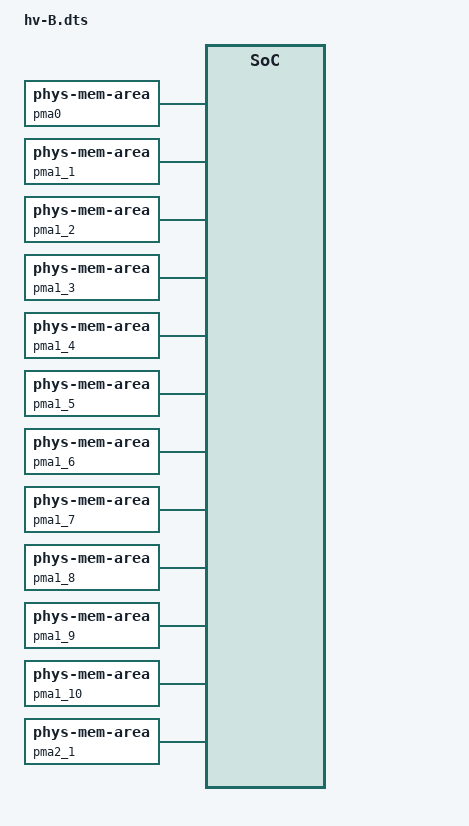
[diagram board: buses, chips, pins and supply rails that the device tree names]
/*
 * Copyright (C) 2012 Freescale Semiconductor, Inc.
 *
 * Redistribution and use in source and binary forms, with or without
 * modification, are permitted provided that the following conditions
 * are met:
 * 1. Redistributions of source code must retain the above copyright
 *    notice, this list of conditions and the following disclaimer.
 * 2. Redistributions in binary form must reproduce the above copyright
 *    notice, this list of conditions and the following disclaimer in the
 *    documentation and/or other materials provided with the distribution.
 *
 * THIS SOFTWARE IS PROVIDED BY THE AUTHOR "AS IS" AND ANY EXPRESS OR
 * IMPLIED WARRANTIES, INCLUDING, BUT NOT LIMITED TO, THE IMPLIED WARRANTIES
 * OF MERCHANTABILITY AND FITNESS FOR A PARTICULAR PURPOSE ARE DISCLAIMED.  IN
 * NO EVENT SHALL THE AUTHOR BE LIABLE FOR ANY DIRECT, INDIRECT, INCIDENTAL,
 * SPECIAL, EXEMPLARY, OR CONSEQUENTIAL DAMAGES (INCLUDING, BUT NOT LIMITED
 * TO, PROCUREMENT OF SUBSTITUTE GOODS OR SERVICES; LOSS OF USE, DATA, OR
 * PROFITS; OR BUSINESS INTERRUPTION) HOWEVER CAUSED AND ON ANY THEORY OF
 * LIABILITY, WHETHER IN CONTRACT, STRICT LIABILITY, OR TORT (INCLUDING
 * NEGLIGENCE OR OTHERWISE) ARISING IN ANY WAY OUT OF THE USE OF THIS
 * SOFTWARE, EVEN IF ADVISED OF THE POSSIBILITY OF SUCH DAMAGE.
 */

/dts-v1/;

/ {
	compatible = "fsl,hv-config";

	// =====================================================
	// Physical Memory Areas
	// =====================================================
	pma0:pma0 {
		compatible = "phys-mem-area";
		addr = <0x0 0x00000000>;
		size = <0x0 0x20000000>;  // 512MB
	};
	pma1_1:pma1_1 {
		compatible = "phys-mem-area";
		addr = <0x0 0x20000000>;
		size = <0x0 0x2000000>;  // 32MB
	};
	pma1_2:pma1_2 {
		compatible = "phys-mem-area";
		addr = <0x0 0x22000000>;
		size = <0x0 0x2000000>;  // 32MB
	};
	pma1_3:pma1_3 {
		compatible = "phys-mem-area";
		addr = <0x0 0x24000000>;
		size = <0x0 0x2000000>;  // 32MB
	};
	pma1_4:pma1_4 {
		compatible = "phys-mem-area";
		addr = <0x0 0x26000000>;
		size = <0x0 0x2000000>;  // 32MB
	};
	pma1_5:pma1_5 {
		compatible = "phys-mem-area";
		addr = <0x0 0x28000000>;
		size = <0x0 0x2000000>;  // 32MB
	};
	pma1_6:pma1_6 {
		compatible = "phys-mem-area";
		addr = <0x0 0x2a000000>;
		size = <0x0 0x2000000>;  // 32MB
	};
	pma1_7:pma1_7 {
		compatible = "phys-mem-area";
		addr = <0x0 0x2c000000>;
		size = <0x0 0x2000000>;  // 32MB
	};
	pma1_8:pma1_8 {
		compatible = "phys-mem-area";
		addr = <0x0 0x2e000000>;
		size = <0x0 0x2000000>;  // 32MB
	};
	pma1_9:pma1_9 {
		compatible = "phys-mem-area";
		addr = <0x0 0x30000000>;
		size = <0x0 0x4000000>;  // 64MB
	};
	pma1_10:pma1_10 {
		compatible = "phys-mem-area";
		addr = <0x0 0x34000000>;
		size = <0x0 0x4000000>;  // 64MB
	};

	pma2_1:pma2_1 {
		compatible = "phys-mem-area";
		addr = <0x0 0x38000000>;
		size = <0x0 0x2000000>;  // 32MB
	};

	// =====================================================
	// Hypervisor Config
	// =====================================================
	hv:hypervisor-config {
		compatible = "hv-config";
		stdout = <&hvbc>;

		hvbc: byte-channel {
			compatible = "byte-channel";
			endpoint = <&uartmux>;
			mux-channel = <0>;
		};

		hv-memory {
			compatible = "hv-memory";
			phys-mem = <&pma0>;
		};

		serial0:serial0 {
			device = "serial0";
		};

		mpic {
			device = "/soc/pic";
		};

		cpc {
			device = "/soc/l3-cache-controller";
		};

		corenet-law {
			device = "/soc/corenet-law";
		};

		corenet-cf {
			device = "/soc/corenet-cf";
		};

		guts {
			device = "/soc/global-utilities@e0000";
		};
	};

	uartmux: uartmux {
		compatible = "byte-channel-mux";
		endpoint = <&serial0>;
	};

	// =====================================================
	// Partition 1
	// =====================================================
	part1 {
		compatible = "partition";
		label = "lrat-test";
		cpus = <0 1 2 1>;
		guest-image = <0xf 0xe8a00000 0 0 0 0x200000>;
		dtb-window = <0 0x01000000 0 0x10000>;

		direct-guest-tlb-management;
		direct-guest-tlb-miss;

		p1bc: p1bc {
			compatible = "byte-channel";
			endpoint = <&uartmux>;
			mux-channel = <1>;
		};

		gpma0 {
			compatible = "guest-phys-mem-area";
			phys-mem = <&pma1_1>;
			guest-addr = <0 0>;
		};
		gpma1 {
			compatible = "guest-phys-mem-area";
			phys-mem = <&pma1_2>;
			guest-addr = <0 0x2000000>;
			node-update {
				prepend-stringlist = "compatible", "fsl,lrat-test";
			};
		};
		gpma2 {
			compatible = "guest-phys-mem-area";
			phys-mem = <&pma1_3>;
			guest-addr = <0 0x4000000>;
			node-update {
				prepend-stringlist = "compatible", "fsl,lrat-test";
			};

		};
		gpma3 {
			compatible = "guest-phys-mem-area";
			phys-mem = <&pma1_4>;
			guest-addr = <0 0x6000000>;
			node-update {
				prepend-stringlist = "compatible", "fsl,lrat-test";
			};

		};
		gpma4 {
			compatible = "guest-phys-mem-area";
			phys-mem = <&pma1_5>;
			guest-addr = <0 0x8000000>;
			node-update {
				prepend-stringlist = "compatible", "fsl,lrat-test";
			};

		};
		gpma5 {
			compatible = "guest-phys-mem-area";
			phys-mem = <&pma1_6>;
			guest-addr = <0 0xa000000>;
			node-update {
				prepend-stringlist = "compatible", "fsl,lrat-test";
			};

		};
		gpma6 {
			compatible = "guest-phys-mem-area";
			phys-mem = <&pma1_7>;
			guest-addr = <0 0xc000000>;
			node-update {
				prepend-stringlist = "compatible", "fsl,lrat-test";
			};

		};
		gpma7 {
			compatible = "guest-phys-mem-area";
			phys-mem = <&pma1_8>;
			guest-addr = <0 0xe000000>;
			node-update {
				prepend-stringlist = "compatible", "fsl,lrat-test";
			};

		};
		gpma8 {
			compatible = "guest-phys-mem-area";
			phys-mem = <&pma1_9>;
			guest-addr = <0 0x10000000>;
			node-update {
				prepend-stringlist = "compatible", "fsl,lrat-test";
			};

		};
		gpma9 {
			compatible = "guest-phys-mem-area";
			phys-mem = <&pma1_10>;
			guest-addr = <0 0x14000000>;
			node-update {
				prepend-stringlist = "compatible", "fsl,lrat-test";
			};

		};

		aliases {
			stdout = <&p1bc>;
		};

	};
	// =====================================================
	// Partition 2
	// =====================================================
	part2 {
		compatible = "partition";
		label = "mmu-test";
		cpus = <4 1 6 1>;
		guest-image = <0xf 0xe8b00000 0 0 0 0x200000>;
		dtb-window = <0 0x01000000 0 0x10000>;

		p2bc: p2bc {
			compatible = "byte-channel";
			endpoint = <&uartmux>;
			mux-channel = <2>;
		};

		gpma0 {
			compatible = "guest-phys-mem-area";
			phys-mem = <&pma2_1>;
			guest-addr = <0 0>;
		};

		aliases {
			stdout = <&p2bc>;
		};

	};

};
